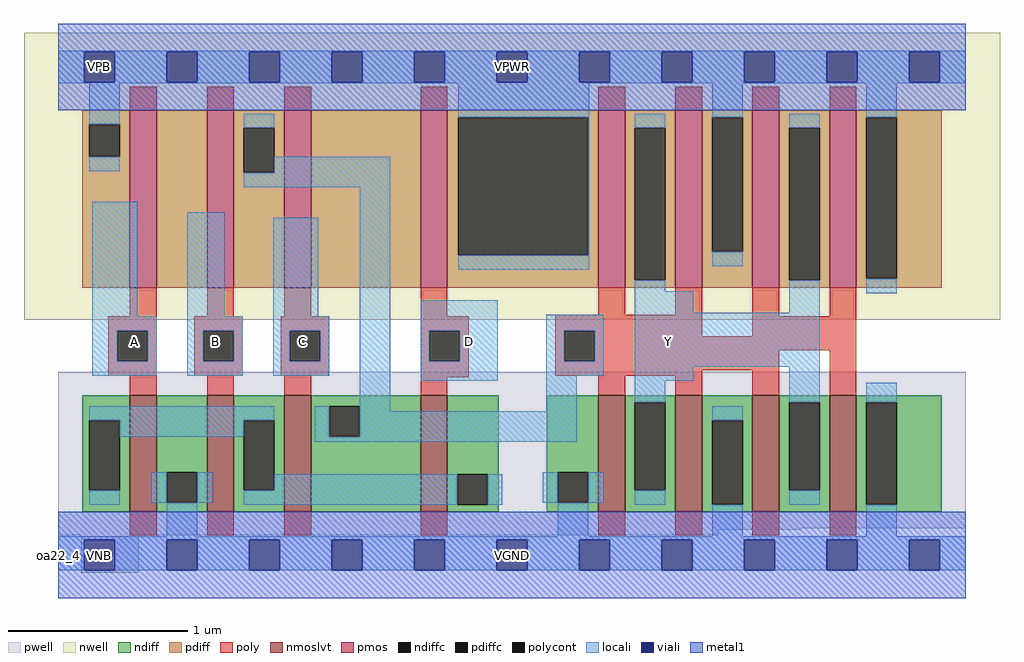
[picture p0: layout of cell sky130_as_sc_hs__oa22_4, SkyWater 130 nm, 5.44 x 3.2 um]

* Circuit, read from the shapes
.subckt sky130_as_sc_hs__oa22_4 VNB VPB VPWR VGND A B C D Y
XM1 VGND A n1 VNB sky130_fd_pr__nfet_01v8_lvt w=0.65 l=0.15
XM2 n1 B VGND VNB sky130_fd_pr__nfet_01v8_lvt w=0.65 l=0.15
XM3 n2 C n1 VNB sky130_fd_pr__nfet_01v8_lvt w=0.65 l=0.15
XM4 n1 D n2 VNB sky130_fd_pr__nfet_01v8_lvt w=0.65 l=0.15
XM5 Y n2 VGND VNB sky130_fd_pr__nfet_01v8_lvt w=0.65 l=0.15 m=4
XM6 n3 A VPWR VPB sky130_fd_pr__pfet_01v8 w=0.99 l=0.15
XM7 n2 B n3 VPB sky130_fd_pr__pfet_01v8 w=0.99 l=0.15
XM8 n4 C n2 VPB sky130_fd_pr__pfet_01v8 w=0.99 l=0.15
XM9 VPWR D n4 VPB sky130_fd_pr__pfet_01v8 w=0.99 l=0.15
XM10 Y n2 VPWR VPB sky130_fd_pr__pfet_01v8 w=0.99 l=0.15 m=4
.ends

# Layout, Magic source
magic
tech sky130A
magscale 1 2
<< nwell >>
rect -38 262 1050 582
<< pwell >>
rect 0 30 1012 204
rect 0 28 828 30
rect 0 22 736 28
rect 26 -20 90 22
<< pmos >>
rect 80 298 110 496
rect 166 298 196 496
rect 252 298 282 496
rect 404 298 434 496
rect 602 298 632 496
rect 688 298 718 496
rect 774 298 804 496
rect 860 298 890 496
<< nmoslvt >>
rect 80 48 110 178
rect 166 48 196 178
rect 252 48 282 178
rect 404 48 434 178
rect 602 48 632 178
rect 688 48 718 178
rect 774 48 804 178
rect 860 48 890 178
<< ndiff >>
rect 27 150 80 178
rect 27 72 35 150
rect 69 72 80 150
rect 27 48 80 72
rect 110 92 166 178
rect 110 58 121 92
rect 155 58 166 92
rect 110 48 166 58
rect 196 150 252 178
rect 196 72 207 150
rect 241 72 252 150
rect 196 48 252 72
rect 282 166 404 178
rect 282 132 302 166
rect 336 132 404 166
rect 282 48 404 132
rect 434 90 491 178
rect 434 56 445 90
rect 479 56 491 90
rect 434 48 491 56
rect 545 92 602 178
rect 545 58 557 92
rect 591 58 602 92
rect 545 48 602 58
rect 632 170 688 178
rect 632 72 643 170
rect 677 72 688 170
rect 632 48 688 72
rect 718 150 774 178
rect 718 56 729 150
rect 763 56 774 150
rect 718 48 774 56
rect 804 170 860 178
rect 804 72 815 170
rect 849 72 860 170
rect 804 48 860 72
rect 890 170 985 178
rect 890 56 901 170
rect 935 56 985 170
rect 890 48 985 56
<< pdiff >>
rect 27 480 80 496
rect 27 444 35 480
rect 69 444 80 480
rect 27 298 80 444
rect 110 298 166 496
rect 196 476 252 496
rect 196 426 207 476
rect 241 426 252 476
rect 196 298 252 426
rect 282 298 404 496
rect 434 488 602 496
rect 434 334 446 488
rect 591 334 602 488
rect 434 298 602 334
rect 632 476 688 496
rect 632 306 643 476
rect 677 306 688 476
rect 632 298 688 306
rect 718 488 774 496
rect 718 338 729 488
rect 763 338 774 488
rect 718 298 774 338
rect 804 476 860 496
rect 804 306 815 476
rect 849 306 860 476
rect 804 298 860 306
rect 890 488 985 496
rect 890 308 901 488
rect 935 308 985 488
rect 890 298 985 308
<< ndiffc >>
rect 35 72 69 150
rect 121 58 155 92
rect 207 72 241 150
rect 302 132 336 166
rect 445 56 479 90
rect 557 58 591 92
rect 643 72 677 170
rect 729 56 763 150
rect 815 72 849 170
rect 901 56 935 170
<< pdiffc >>
rect 35 444 69 480
rect 207 426 241 476
rect 446 334 591 488
rect 643 306 677 476
rect 729 338 763 488
rect 815 306 849 476
rect 901 308 935 488
<< poly >>
rect 80 496 110 522
rect 166 496 196 522
rect 252 496 282 522
rect 404 496 434 522
rect 602 496 632 522
rect 688 496 718 522
rect 774 496 804 522
rect 860 496 890 522
rect 80 266 110 298
rect 166 266 196 298
rect 252 266 282 298
rect 404 266 434 298
rect 602 268 632 298
rect 688 268 718 298
rect 56 250 110 266
rect 56 216 66 250
rect 100 216 110 250
rect 56 200 110 216
rect 152 250 206 266
rect 152 216 162 250
rect 196 216 206 250
rect 152 200 206 216
rect 248 250 302 266
rect 248 216 258 250
rect 292 216 302 250
rect 248 200 302 216
rect 404 250 458 266
rect 404 216 414 250
rect 448 216 458 250
rect 80 178 110 200
rect 166 178 196 200
rect 252 178 282 200
rect 404 198 458 216
rect 554 250 718 268
rect 554 216 564 250
rect 598 244 718 250
rect 774 266 804 298
rect 860 266 890 298
rect 774 244 890 266
rect 598 228 890 244
rect 598 216 804 228
rect 554 206 804 216
rect 554 200 718 206
rect 404 178 434 198
rect 602 178 632 200
rect 688 178 718 200
rect 774 178 804 206
rect 860 178 890 228
rect 80 22 110 48
rect 166 22 196 48
rect 252 22 282 48
rect 404 22 434 48
rect 602 22 632 48
rect 688 22 718 48
rect 774 22 804 48
rect 860 22 890 48
<< polycont >>
rect 66 216 100 250
rect 162 216 196 250
rect 258 216 292 250
rect 414 216 448 250
rect 564 216 598 250
<< locali >>
rect 0 561 1012 562
rect 0 527 29 561
rect 63 527 121 561
rect 155 527 213 561
rect 247 527 305 561
rect 339 527 397 561
rect 431 527 489 561
rect 523 527 581 561
rect 615 527 673 561
rect 707 527 765 561
rect 799 527 857 561
rect 891 527 949 561
rect 983 527 1012 561
rect 0 526 1012 527
rect 35 480 69 526
rect 35 428 69 444
rect 207 476 241 492
rect 446 488 592 526
rect 241 426 370 444
rect 207 410 370 426
rect 38 266 88 394
rect 144 266 186 382
rect 240 266 290 376
rect 38 250 110 266
rect 38 216 66 250
rect 100 216 110 250
rect 38 200 110 216
rect 144 250 206 266
rect 144 216 162 250
rect 196 216 206 250
rect 144 200 206 216
rect 240 250 302 266
rect 240 216 258 250
rect 292 216 302 250
rect 240 200 302 216
rect 35 150 241 166
rect 69 132 207 150
rect 35 56 69 72
rect 104 58 121 92
rect 155 58 172 92
rect 286 132 302 166
rect 336 160 370 410
rect 591 334 592 488
rect 446 318 592 334
rect 643 476 677 492
rect 729 488 763 526
rect 729 322 763 338
rect 815 476 849 492
rect 643 294 677 306
rect 404 250 490 284
rect 643 270 708 294
rect 815 270 849 306
rect 901 488 935 526
rect 901 292 935 308
rect 404 216 414 250
rect 448 216 490 250
rect 404 194 490 216
rect 544 250 608 268
rect 544 216 564 250
rect 598 216 608 250
rect 544 200 608 216
rect 643 210 849 270
rect 544 160 578 200
rect 336 132 578 160
rect 286 126 578 132
rect 643 194 708 210
rect 643 170 677 194
rect 241 72 445 90
rect 121 21 155 58
rect 207 56 445 72
rect 479 56 495 90
rect 540 58 557 92
rect 591 58 608 92
rect 815 170 849 210
rect 557 21 591 58
rect 643 56 677 72
rect 729 150 763 166
rect 815 56 849 72
rect 901 170 935 192
rect 729 21 763 56
rect 901 21 935 56
rect 0 17 1012 21
rect 0 -17 29 17
rect 63 -17 121 17
rect 155 -17 213 17
rect 247 -17 305 17
rect 339 -17 397 17
rect 431 -17 489 17
rect 523 -17 581 17
rect 615 -17 673 17
rect 707 -17 765 17
rect 799 -17 857 17
rect 891 -17 949 17
rect 983 -17 1012 17
<< viali >>
rect 29 527 63 561
rect 121 527 155 561
rect 213 527 247 561
rect 305 527 339 561
rect 397 527 431 561
rect 489 527 523 561
rect 581 527 615 561
rect 673 527 707 561
rect 765 527 799 561
rect 857 527 891 561
rect 949 527 983 561
rect 29 -17 63 17
rect 121 -17 155 17
rect 213 -17 247 17
rect 305 -17 339 17
rect 397 -17 431 17
rect 489 -17 523 17
rect 581 -17 615 17
rect 673 -17 707 17
rect 765 -17 799 17
rect 857 -17 891 17
rect 949 -17 983 17
<< metal1 >>
rect 0 561 1012 592
rect 0 527 29 561
rect 63 527 121 561
rect 155 527 213 561
rect 247 527 305 561
rect 339 527 397 561
rect 431 527 489 561
rect 523 527 581 561
rect 615 527 673 561
rect 707 527 765 561
rect 799 527 857 561
rect 891 527 949 561
rect 983 527 1012 561
rect 0 496 1012 527
rect 0 17 1012 48
rect 0 -17 29 17
rect 63 -17 121 17
rect 155 -17 213 17
rect 247 -17 305 17
rect 339 -17 397 17
rect 431 -17 489 17
rect 523 -17 581 17
rect 615 -17 673 17
rect 707 -17 765 17
rect 799 -17 857 17
rect 891 -17 949 17
rect 983 -17 1012 17
rect 0 -48 1012 -17
<< labels >>
rlabel comment s 0 0 0 0 4 oa22_4
flabel pwell s 29 -17 63 17 0 FreeSans 200 0 0 0 VNB
port 1 nsew ground bidirectional
flabel pwell s 46 0 46 0 0 FreeSans 200 0 0 0 VNB
flabel nwell s 29 527 63 561 0 FreeSans 200 0 0 0 VPB
port 2 nsew power bidirectional
flabel nwell s 46 544 46 544 0 FreeSans 200 0 0 0 VPB
flabel metal1 s 29 527 63 561 0 FreeSans 200 0 0 0 VPWR
port 3 nsew power bidirectional abutment
flabel metal1 s 29 -17 63 17 0 FreeSans 200 0 0 0 VGND
port 4 nsew ground bidirectional abutment
rlabel metal1 s 0 -48 1012 48 1 VGND
port 4 nsew ground bidirectional abutment
rlabel metal1 s 0 496 1012 592 1 VPWR
port 3 nsew power bidirectional abutment
flabel locali s 68 221 102 255 0 FreeSans 200 0 0 0 A
port 5 nsew signal input
flabel locali s 85 238 85 238 0 FreeSans 200 0 0 0 A
flabel locali s 163 221 187 255 0 FreeSans 200 0 0 0 B
port 6 nsew signal input
flabel locali s 170 238 170 238 0 FreeSans 200 0 0 0 B
flabel locali s 255 221 289 255 0 FreeSans 200 0 0 0 C
port 7 nsew signal input
flabel locali s 272 238 272 238 0 FreeSans 200 0 0 0 C
flabel locali s 442 221 476 255 0 FreeSans 200 0 0 0 D
port 8 nsew signal input
flabel locali s 459 238 459 238 0 FreeSans 200 0 0 0 D
flabel locali s 663 221 697 255 0 FreeSans 200 0 0 0 Y
port 9 nsew signal output
flabel locali s 680 238 680 238 0 FreeSans 200 0 0 0 Y
<< properties >>
string FIXED_BBOX 0 0 1012 544
string GDS_FILE $PDKPATH/libs.ref/sky130_as_sc_hs/gds/sky130_as_sc_hs__oa22_4.gds
string LEFclass CORE
string LEFsite unithd
string LEFsymmetry X Y R90
string MASKHINTS_LVTN 0 -4 1012 220
string MASKHINTS_NSDM 0 -38 1012 209
string MASKHINTS_PSDM 0 273 1012 582
<< end >>
